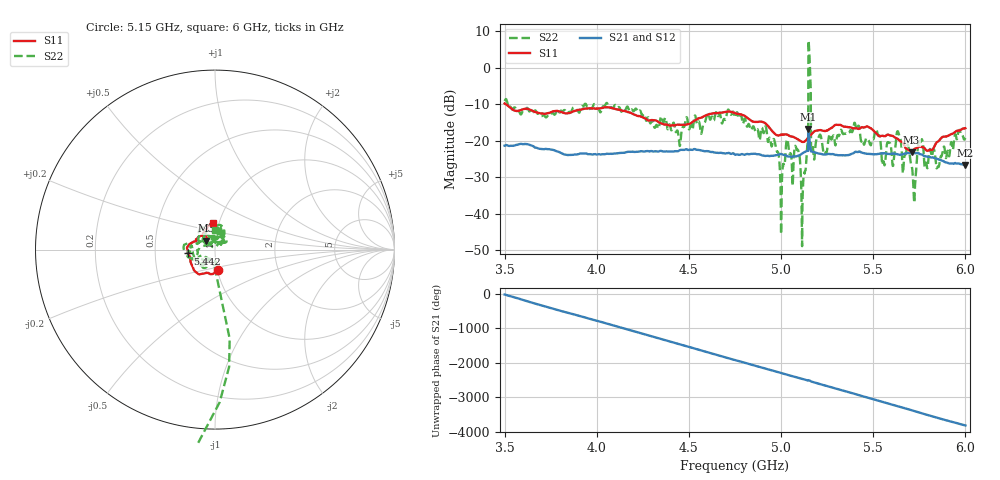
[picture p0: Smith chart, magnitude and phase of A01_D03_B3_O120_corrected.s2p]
! Created with skrf 1.9.0 (http://scikit-rf.org).
# Hz S RI R 50.0
!freq ReS11 ImS11 ReS21 ImS21 ReS12 ImS12 ReS22 ImS22
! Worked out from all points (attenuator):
!   1601 points, 3.5 GHz to 6 GHz, reference 50 ohm
!   highest |S21| = -16.79 dB at 5.148 GHz (marker M1); lowest = -26.6 dB at 5.997 GHz (marker M2)
!   lowest |S11| = -23.2 dB at 5.708 GHz (marker M3), VSWR 1.15, Z = 45.2 + j4.57 ohm
!   |S11| at or under -10 dB: 3.506 GHz to end of sweep
!   |S22| runs from -48.9 to 7.4 dB; largest |S21 - S12| = 0.001
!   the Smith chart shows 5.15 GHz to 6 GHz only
!   S11 on the Smith chart (normalised r, x): 5.15 GHz: 1.00, -0.23; 5.442 GHz: 0.74, -0.03; 6 GHz: 0.94, +0.28
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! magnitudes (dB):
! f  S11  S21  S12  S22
! 3.5 GHz  -9.8  -21.4  -21.4  -9.1
! 3.917 GHz  -11.5  -23.5  -23.5  -10.6
! 4.334 GHz  -14.9  -23.0  -23.0  -16.7
! 4.75 GHz  -12.5  -23.9  -23.8  -13.7
! 4.911 GHz  -15.1  -24.2  -24.1  -16.8
! 5.005 GHz  -18.3  -23.7  -23.7  -30.8
! 5.033 GHz  -18.3  -24.3  -24.2  -19.6
! 5.086 GHz  -19.5  -24.3  -24.2  -22.6
! 5.119 GHz  -20.4  -23.4  -23.3  -32.6
! 5.148 GHz  -19.1  -16.8  -16.8  7.4
! 5.15 GHz  -19.0  -17.4  -17.4  6.9
! 5.167 GHz  -18.1  -23.0  -23.0  -21.1
! 5.175 GHz  -17.7  -23.1  -23.1  -23.0
! 5.442 GHz  -16.4  -23.3  -23.3  -20.0
! 5.584 GHz  -18.4  -23.6  -23.6  -20.5
! 5.638 GHz  -19.7  -23.8  -23.8  -18.0
! 5.708 GHz  -23.2  -23.5  -23.4  -26.9
! 5.725 GHz  -22.2  -23.4  -23.4  -34.6
! 5.756 GHz  -21.7  -23.7  -23.7  -20.5
! 5.85 GHz  -20.3  -25.1  -25.0  -27.1
! 5.997 GHz  -16.6  -26.6  -26.6  -19.6
! 6 GHz  -16.6  -26.6  -26.6  -19.3
